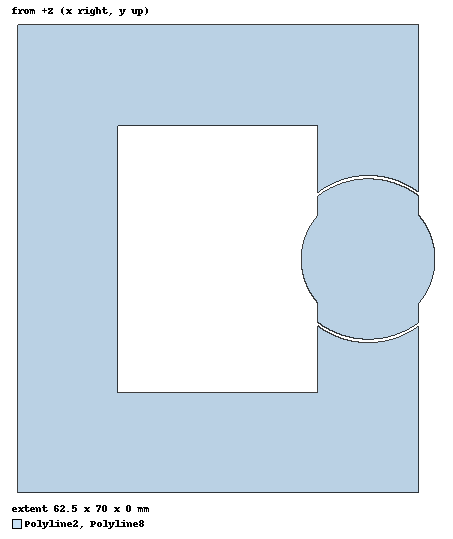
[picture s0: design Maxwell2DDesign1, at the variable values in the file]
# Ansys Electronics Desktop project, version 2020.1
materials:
  vacuum: permittivity=1

design Maxwell2DDesign1 (Maxwell 2D, Magnetostatic, XY geometry, model units mm)
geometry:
  Polyline1 = polyline(z=0mm, xy in mm: (0, 0) (0, 70) (60, 70) (60, 55) (15, 55) (15, 15) (60, 15) (60, 0) (0, 0), closed, covered)
  point Point1 = (45mm, 55mm, 0mm)
  Polyline2 [vacuum] = polyline(z=0mm, xy in mm: (45, 55) (45, 15) (60, 15) (60, 55) (45, 55), closed, covered)
  Polyline2.unite(Polyline1)
  Circle1 = circle(normal=Z, centre=(52.5mm, 35mm, 0mm), radius=12.5mm)
  Polyline2.subtract(Circle1)
  point Point2 = (45mm, 44.5mm, 0mm)
  point Point3 = (45mm, 44.5mm, 0mm)
  Polyline8 [vacuum] = polyline(z=0mm, xy in mm: (45, 44.5) (52.6, 47) (60, 44.5) (60, 25.5) (52.5, 23) (45, 25.5) (45, 44.5), closed, covered, Arc from point 0 over 3, Arc from point 3 over 3)
  Circle2 = circle(normal=Z, centre=(52.5mm, 35mm, 0mm), radius=10mm)
  Polyline8.unite(Circle2)
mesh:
  initial mesh: MeshMethod=AnsoftTAU
